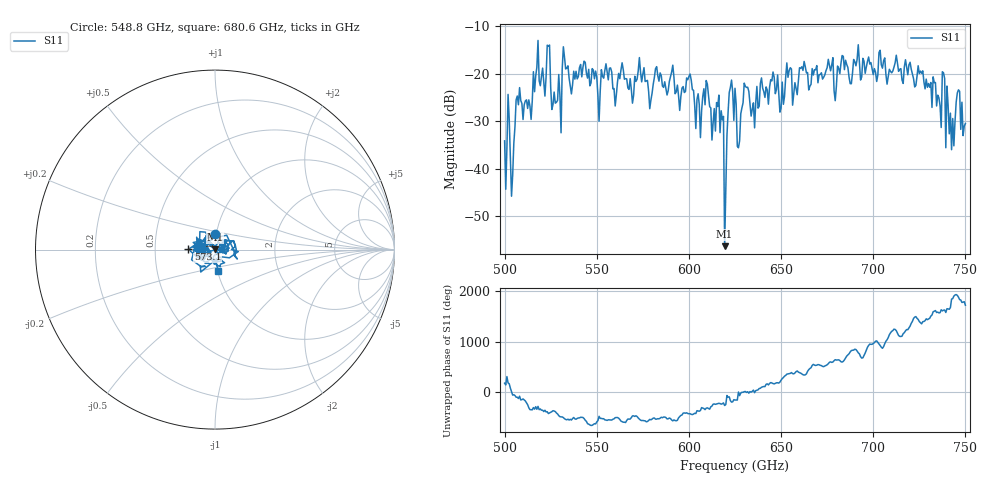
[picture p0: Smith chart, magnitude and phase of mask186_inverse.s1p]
!Created with skrf (http://scikit-rf.org).
# GHz S MA R 50.0
!freq magS11 angS11
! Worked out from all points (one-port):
!   401 points, 500 GHz to 750 GHz, reference 50 ohm
!   lowest |S11| = -56.2 dB at 619.4 GHz (marker M1), VSWR 1.00, Z = 50 + j0.154 ohm
!   |S11| at or under -10 dB: start of sweep to end of sweep
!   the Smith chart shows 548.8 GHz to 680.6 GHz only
!   S11 on the Smith chart (normalised r, x): 548.8 GHz: 0.99, +0.18; 573.1 GHz: 0.74, +0.00; 680.6 GHz: 1.01, -0.24
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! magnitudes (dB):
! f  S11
! 500 GHz  -34.1
! 504.4 GHz  -41.3
! 507.5 GHz  -26.5
! 513.8 GHz  -26.8
! 516.9 GHz  -20.5
! 523.8 GHz  -14.2
! 526.9 GHz  -23.8
! 531.2 GHz  -19.0
! 548.8 GHz  -21.0
! 562.5 GHz  -21.0
! 573.1 GHz  -16.6
! 593.8 GHz  -22.4
! 600 GHz  -20.6
! 605 GHz  -24.2
! 609.4 GHz  -21.4
! 617.5 GHz  -27.8
! 619.4 GHz  -56.2
! 620.6 GHz  -33.0
! 622.5 GHz  -22.9
! 625 GHz  -23.0
! 627.5 GHz  -34.1
! 631.2 GHz  -22.9
! 634.4 GHz  -27.4
! 656.2 GHz  -26.6
! 680.6 GHz  -18.4
! 687.5 GHz  -22.1
! 718.8 GHz  -20.2
! 750 GHz  -30.4
